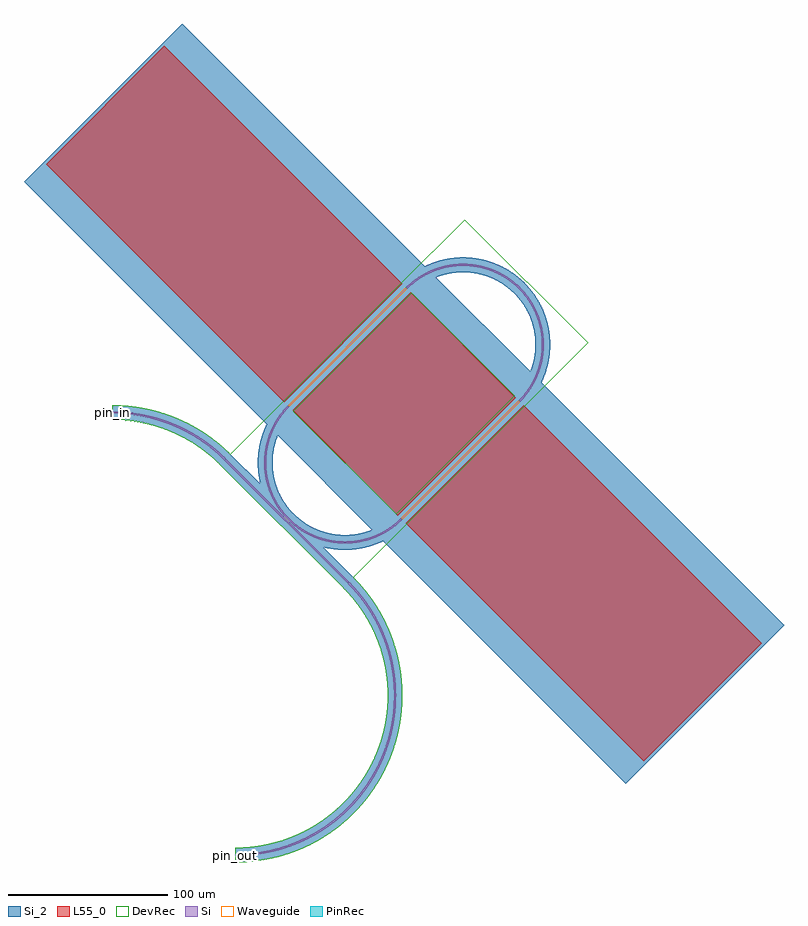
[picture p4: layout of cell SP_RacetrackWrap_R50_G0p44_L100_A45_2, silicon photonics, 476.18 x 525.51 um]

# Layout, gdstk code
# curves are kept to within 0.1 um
from math import pi, radians
import gdstk
lib = gdstk.Library(unit=1e-6, precision=1e-09)
def R(c, l, rs):  # rectangles x0, y0, x1, y1
    for r in rs: c.add(gdstk.rectangle(r[:2], r[2:], *l))
def P(c, l, *ps):  # polygons
    for p in ps: c.add(gdstk.Polygon(p, *l))
Si = (1, 0)
Si_2 = (1, 2)
PinRec = (1, 10)
Waveguide = (1, 99)
L55_0 = (55, 0)
DevRec = (68, 0)

bto_shetch_dc_halfring_s = lib.new_cell('BTO_ShEtch_dc_halfring_straight$4')
R(bto_shetch_dc_halfring_s, Si, [(-54.6,-0.6,54.6,0.6)])
P(bto_shetch_dc_halfring_s, Si, [(0,1.04),(-4.988,1.286),(-9.927,2.023),(-14.335,3.113),(-19.049,4.762),(-23.577,6.868),(-27.875,9.411),(-31.902,12.364),(-35.619,15.7),(-38.988,19.386),(-41.977,23.387),(-44.558,27.662),(-46.705,32.171),(-48.396,36.87),(-49.617,41.713),(-50.354,46.652),(-50.6,51.64),(-49.4,51.64),(-49.114,46.329),(-48.351,41.514),(-46.982,36.375),(-45.069,31.412),(-42.855,27.068),(-40.48,23.326),(-37.492,19.473),(-34.458,16.242),(-30.8,13.018),(-26.843,10.169),(-23.018,7.93),(-18.597,5.874),(-14.42,4.391),(-9.692,3.2),(-4.87,2.481),(0,2.24),(4.87,2.481),(9.692,3.2),(14.42,4.391),(18.597,5.874),(23.018,7.93),(26.843,10.169),(30.8,13.018),(34.458,16.242),(37.492,19.473),(40.48,23.326),(42.855,27.068),(45.069,31.412),(46.982,36.375),(48.351,41.514),(49.114,46.329),(49.4,51.64),(50.6,51.64),(50.354,46.652),(49.617,41.713),(48.527,37.305),(46.878,32.591),(44.772,28.063),(42.229,23.765),(39.276,19.738),(35.94,16.021),(32.254,12.652),(28.253,9.663),(23.978,7.082),(19.469,4.935),(14.77,3.244),(9.927,2.023),(4.988,1.286)])
P(bto_shetch_dc_halfring_s, Si_2, [(-54.6,-4.6),(-54.6,4.6),(-27.719,4.6),(-30.892,6.62),(-33.658,8.648),(-36.291,10.846),(-38.781,13.206),(-41.118,15.717),(-43.589,18.759),(-45.568,21.561),(-47.366,24.482),(-48.978,27.509),(-50.397,30.632),(-51.774,34.302),(-52.761,37.587),(-53.539,40.928),(-54.106,44.311),(-54.492,48.212),(-54.6,51.64),(-45.4,51.64),(-45.137,46.759),(-44.351,41.935),(-42.919,36.838),(-41.079,32.31),(-38.763,28.005),(-35.998,23.975),(-32.532,19.972),(-28.939,16.659),(-25.687,14.205),(-22.228,12.054),(-18.59,10.22),(-15.187,8.855),(-11.685,7.769),(-7.705,6.899),(-3.664,6.388),(0,6.24),(3.664,6.388),(7.705,6.899),(11.685,7.769),(15.187,8.855),(18.59,10.22),(22.228,12.054),(25.687,14.205),(28.939,16.659),(32.532,19.972),(35.998,23.975),(38.763,28.005),(41.079,32.31),(42.919,36.838),(44.351,41.935),(45.137,46.759),(45.4,51.64),(54.6,51.64),(54.492,48.212),(54.106,44.311),(53.539,40.928),(52.761,37.587),(51.774,34.302),(50.397,30.632),(48.978,27.509),(47.366,24.482),(45.568,21.561),(43.589,18.759),(41.118,15.717),(38.781,13.206),(36.291,10.846),(33.658,8.648),(30.892,6.62),(27.719,4.6),(54.6,4.6),(54.6,-4.6)])
R(bto_shetch_dc_halfring_s, DevRec, [(-54.6,-4.6,54.6,51.64)])
bto_shetch_dc_halfring_s.add(gdstk.FlexPath([(-50,51.63),(-50,51.65)], 1.2, ends="flush", simple_path=True, layer=1, datatype=10))  # PinRec
bto_shetch_dc_halfring_s.add(gdstk.FlexPath([(50,51.63),(50,51.65)], 1.2, ends="flush", simple_path=True, layer=1, datatype=10))  # PinRec
bto_shetch_dc_halfring_s.add(gdstk.FlexPath([(-54.59,0),(-54.61,0)], 1.2, ends="flush", simple_path=True, layer=1, datatype=10))  # PinRec
bto_shetch_dc_halfring_s.add(gdstk.FlexPath([(54.59,0),(54.61,0)], 1.2, ends="flush", simple_path=True, layer=1, datatype=10))  # PinRec
bto_shetch_dc_halfring_s.add(gdstk.Label('pin2', (-50,51.64), layer=1, texttype=10))
bto_shetch_dc_halfring_s.add(gdstk.Label('pin4', (50,51.64), layer=1, texttype=10))
bto_shetch_dc_halfring_s.add(gdstk.Label('pin1', (-54.6,0), layer=1, texttype=10))
bto_shetch_dc_halfring_s.add(gdstk.Label('pin3', (54.6,0), layer=1, texttype=10))

c_bto_shetch_dc_halfring_s = lib.new_cell('BTO_ShEtch_dc_halfring_straight$5')
P(c_bto_shetch_dc_halfring_s, Si, [(0,1.04),(-4.988,1.286),(-9.927,2.023),(-14.335,3.113),(-19.049,4.762),(-23.577,6.868),(-27.875,9.411),(-31.902,12.364),(-35.619,15.7),(-38.988,19.386),(-41.977,23.387),(-44.558,27.662),(-46.705,32.171),(-48.396,36.87),(-49.617,41.713),(-50.354,46.652),(-50.6,51.64),(-49.4,51.64),(-49.114,46.329),(-48.351,41.514),(-46.982,36.375),(-45.069,31.412),(-42.855,27.068),(-40.48,23.326),(-37.492,19.473),(-34.458,16.242),(-30.8,13.018),(-26.843,10.169),(-23.018,7.93),(-18.597,5.874),(-14.42,4.391),(-9.692,3.2),(-4.87,2.481),(0,2.24),(4.87,2.481),(9.692,3.2),(14.42,4.391),(18.597,5.874),(23.018,7.93),(26.843,10.169),(30.8,13.018),(34.458,16.242),(37.492,19.473),(40.48,23.326),(42.855,27.068),(45.069,31.412),(46.982,36.375),(48.351,41.514),(49.114,46.329),(49.4,51.64),(50.6,51.64),(50.354,46.652),(49.617,41.713),(48.527,37.305),(46.878,32.591),(44.772,28.063),(42.229,23.765),(39.276,19.738),(35.94,16.021),(32.254,12.652),(28.253,9.663),(23.978,7.082),(19.469,4.935),(14.77,3.244),(9.927,2.023),(4.988,1.286)])
P(c_bto_shetch_dc_halfring_s, Si_2, [(0,-2.96),(-5.382,-2.694),(-10.712,-1.899),(-15.937,-0.582),(-21.008,1.243),(-25.441,3.329),(-30.079,6.072),(-34.424,9.259),(-38.434,12.859),(-42.07,16.837),(-45.296,21.153),(-48.081,25.767),(-50.397,30.632),(-52.222,35.703),(-53.539,40.928),(-54.334,46.258),(-54.6,51.64),(-45.4,51.64),(-45.137,46.759),(-44.351,41.935),(-42.919,36.838),(-41.079,32.31),(-38.763,28.005),(-35.998,23.975),(-32.532,19.972),(-28.939,16.659),(-25.687,14.205),(-22.228,12.054),(-18.59,10.22),(-15.187,8.855),(-11.685,7.769),(-7.705,6.899),(-3.664,6.388),(0,6.24),(3.664,6.388),(7.705,6.899),(11.685,7.769),(15.187,8.855),(18.59,10.22),(22.228,12.054),(25.687,14.205),(28.939,16.659),(32.532,19.972),(35.998,23.975),(38.763,28.005),(41.079,32.31),(42.919,36.838),(44.351,41.935),(45.137,46.759),(45.4,51.64),(54.6,51.64),(54.334,46.258),(53.539,40.928),(52.222,35.703),(50.397,30.632),(48.311,26.199),(45.568,21.561),(42.381,17.216),(38.781,13.206),(34.803,9.57),(30.487,6.344),(25.873,3.559),(21.008,1.243),(15.937,-0.582),(10.712,-1.899),(5.382,-2.694)])
R(c_bto_shetch_dc_halfring_s, DevRec, [(-54.6,-4.6,54.6,51.64)])
c_bto_shetch_dc_halfring_s.add(gdstk.FlexPath([(-50,51.63),(-50,51.65)], 1.2, ends="flush", simple_path=True, layer=1, datatype=10))  # PinRec
c_bto_shetch_dc_halfring_s.add(gdstk.FlexPath([(50,51.63),(50,51.65)], 1.2, ends="flush", simple_path=True, layer=1, datatype=10))  # PinRec
c_bto_shetch_dc_halfring_s.add(gdstk.Label('pin2', (-50,51.64), layer=1, texttype=10))
c_bto_shetch_dc_halfring_s.add(gdstk.Label('pin4', (50,51.64), layer=1, texttype=10))

waveguide_20 = lib.new_cell('Waveguide$20')
R(waveguide_20, Si, [(-50.6,51.64,-49.4,156.26)])
R(waveguide_20, Si_2, [(-54.6,51.64,-45.4,156.26)])
R(waveguide_20, Waveguide, [(-50.6,51.64,-49.4,156.26)])
R(waveguide_20, DevRec, [(-54.6,51.64,-45.4,156.26)])
waveguide_20.add(gdstk.FlexPath([(-50,51.65),(-50,51.63)], 1.2, ends="flush", simple_path=True, layer=1, datatype=10))  # PinRec
waveguide_20.add(gdstk.FlexPath([(-50,156.25),(-50,156.27)], 1.2, ends="flush", simple_path=True, layer=1, datatype=10))  # PinRec
waveguide_20.add(gdstk.Label('Lumerical_INTERCONNECT_library=Design kits/EBeam', (-50.24,51.64), layer=68, texttype=0))
waveguide_20.add(gdstk.Label('Component=ebeam_wg_integral_895', (-49.76,51.64), layer=68, texttype=0))
waveguide_20.add(gdstk.Label('cellName=Waveguide', (-49.52,51.64), layer=68, texttype=0))
waveguide_20.add(gdstk.Label('Spice_param:wg_length=0.000104620 wg_width=1.2e-06 points="[[-50.0,51.64],[-50.0,156.26]]" radius=0.0001', (-50,51.64), layer=68, texttype=0))
waveguide_20.add(gdstk.Label('Length=104.620 (microns)', (-51.44,51.64), layer=68, texttype=0))
waveguide_20.add(gdstk.Label('waveguide_type=Low-loss Bend Waveguide, w=1.2um r=100um', (-50.48,51.64), layer=68, texttype=0))
waveguide_20.add(gdstk.Label('opt1', (-50,51.64), layer=1, texttype=10))
waveguide_20.add(gdstk.Label('opt2', (-50,156.26), layer=1, texttype=10))

waveguide_21 = lib.new_cell('Waveguide$21')
R(waveguide_21, Si, [(49.4,51.64,50.6,156.26)])
R(waveguide_21, Si_2, [(45.4,51.64,54.6,156.26)])
R(waveguide_21, Waveguide, [(49.4,51.64,50.6,156.26)])
R(waveguide_21, DevRec, [(45.4,51.64,54.6,156.26)])
waveguide_21.add(gdstk.FlexPath([(50,51.65),(50,51.63)], 1.2, ends="flush", simple_path=True, layer=1, datatype=10))  # PinRec
waveguide_21.add(gdstk.FlexPath([(50,156.25),(50,156.27)], 1.2, ends="flush", simple_path=True, layer=1, datatype=10))  # PinRec
waveguide_21.add(gdstk.Label('Lumerical_INTERCONNECT_library=Design kits/EBeam', (49.76,51.64), layer=68, texttype=0))
waveguide_21.add(gdstk.Label('Component=ebeam_wg_integral_895', (50.24,51.64), layer=68, texttype=0))
waveguide_21.add(gdstk.Label('cellName=Waveguide', (50.48,51.64), layer=68, texttype=0))
waveguide_21.add(gdstk.Label('Spice_param:wg_length=0.000104620 wg_width=1.2e-06 points="[[50.0,51.64],[50.0,156.26]]" radius=0.0001', (50,51.64), layer=68, texttype=0))
waveguide_21.add(gdstk.Label('Length=104.620 (microns)', (48.56,51.64), layer=68, texttype=0))
waveguide_21.add(gdstk.Label('waveguide_type=Low-loss Bend Waveguide, w=1.2um r=100um', (49.52,51.64), layer=68, texttype=0))
waveguide_21.add(gdstk.Label('opt1', (50,51.64), layer=1, texttype=10))
waveguide_21.add(gdstk.Label('opt2', (50,156.26), layer=1, texttype=10))

bto_shetch_varbend_4 = lib.new_cell('BTO_ShEtch_VarBend$4')
P(bto_shetch_varbend_4, Si, [(-70.286,70.286),(-71.135,71.135),(-70.824,71.445),(-65.134,76.668),(-58.918,81.542),(-54.422,84.609),(-49.614,87.515),(-44.809,90.07),(-39.792,92.396),(-34.902,94.352),(-30.084,95.997),(-25.358,97.352),(-20.314,98.528),(-15.13,99.456),(-9.992,100.103),(-5.002,100.476),(0,100.6),(0,99.4),(-6.068,99.215),(-11.769,98.701),(-17.431,97.86),(-23.036,96.694),(-31.293,94.346),(-39.477,91.225),(-43.808,89.226),(-47.81,87.147),(-51.862,84.798),(-55.799,82.261),(-59.682,79.489),(-63.427,76.534),(-66.962,73.461)])
P(bto_shetch_varbend_4, Si_2, [(-67.458,67.458),(-73.963,73.963),(-68.624,78.943),(-62.658,83.757),(-56.893,87.775),(-50.551,91.574),(-44.537,94.645),(-38.506,97.255),(-32.323,99.481),(-26.013,101.314),(-19.869,102.696),(-13.019,103.787),(-6.568,104.394),(0,104.6),(0,95.4),(-4.91,95.274),(-9.392,94.937),(-13.936,94.377),(-18.693,93.551),(-23.241,92.526),(-27.813,91.256),(-32.316,89.76),(-36.354,88.202),(-40.619,86.321),(-44.935,84.155),(-48.849,81.945),(-52.863,79.415),(-56.88,76.589),(-60.489,73.772),(-64.144,70.617)])
P(bto_shetch_varbend_4, DevRec, [(-67.458,67.458),(-73.963,73.963),(-68.624,78.943),(-62.658,83.757),(-56.893,87.775),(-50.551,91.574),(-44.537,94.645),(-38.506,97.255),(-32.323,99.481),(-26.013,101.314),(-19.869,102.696),(-13.019,103.787),(-6.568,104.394),(0,104.6),(0,95.4),(-4.91,95.274),(-9.392,94.937),(-13.936,94.377),(-18.693,93.551),(-23.241,92.526),(-27.813,91.256),(-32.316,89.76),(-36.354,88.202),(-40.619,86.321),(-44.935,84.155),(-48.849,81.945),(-52.863,79.415),(-56.88,76.589),(-60.489,73.772),(-64.144,70.617)])
bto_shetch_varbend_4.add(gdstk.FlexPath([(-0.01,100),(0.01,100)], 1.2, ends="flush", simple_path=True, layer=1, datatype=10))  # PinRec
bto_shetch_varbend_4.add(gdstk.FlexPath([(-70.704,70.718),(-70.718,70.704)], 1.2, ends="flush", simple_path=True, layer=1, datatype=10))  # PinRec
bto_shetch_varbend_4.add(gdstk.Label('pin1', (0,100), layer=1, texttype=10))
bto_shetch_varbend_4.add(gdstk.Label('pin2', (-70.711,70.711), layer=1, texttype=10))

bto_shetch_varbend_5 = lib.new_cell('BTO_ShEtch_VarBend$5')
P(bto_shetch_varbend_5, Si, [(-0.263,-100.6),(-5.44,-100.453),(-10.516,-100.049),(-15.564,-99.389),(-20.314,-98.528),(-25.358,-97.352),(-30.084,-95.997),(-34.902,-94.352),(-39.792,-92.396),(-44.809,-90.07),(-49.614,-87.515),(-54.422,-84.609),(-58.918,-81.542),(-65.134,-76.668),(-70.824,-71.445),(-71.135,-71.135),(-70.286,-70.286),(-64.819,-75.359),(-59.195,-79.852),(-53.188,-83.973),(-46.972,-87.602),(-40.35,-90.842),(-33.344,-93.641),(-26.313,-95.854),(-19.222,-97.524),(-12.028,-98.67),(-4.769,-99.286),(2.689,-99.364),(9.872,-98.909),(17.261,-97.89),(24.468,-96.342),(31.293,-94.346),(37.959,-91.867),(44.43,-88.918),(50.897,-85.381),(57.085,-81.374),(62.622,-77.194),(67.981,-72.519),(73.227,-67.218),(78.061,-61.538),(82.163,-55.943),(85.822,-50.15),(89.034,-44.197),(91.867,-37.959),(94.346,-31.293),(96.572,-23.542),(98.163,-15.635),(99.094,-7.799),(99.4,0),(100.6,0),(100.476,-5.002),(100.103,-9.992),(99.495,-14.87),(98.633,-19.798),(97.505,-24.763),(96.179,-29.497),(94.653,-34.077),(92.909,-38.579),(90.876,-43.151),(88.701,-47.461),(86.276,-51.738),(83.695,-55.817),(80.816,-59.91),(77.793,-63.786),(74.702,-67.38),(71.011,-71.259),(67.38,-74.702),(63.786,-77.793),(59.91,-80.816),(55.817,-83.695),(51.738,-86.276),(47.229,-88.825),(42.833,-91.026),(38.417,-92.976),(33.581,-94.83),(28.993,-96.332),(24.337,-97.612),(19.282,-98.735),(14.609,-99.534),(9.467,-100.154),(5.002,-100.476)])
P(bto_shetch_varbend_5, Si_2, [(-0.274,-104.6),(-6.568,-104.394),(-13.381,-103.741),(-19.869,-102.696),(-26.013,-101.314),(-32.323,-99.481),(-38.506,-97.255),(-44.537,-94.645),(-50.551,-91.574),(-56.893,-87.775),(-62.658,-83.757),(-68.624,-78.943),(-73.963,-73.963),(-67.458,-67.458),(-62.651,-71.945),(-57.08,-76.44),(-51.329,-80.415),(-45.448,-83.879),(-39.334,-86.914),(-33.098,-89.475),(-26.696,-91.589),(-19.753,-93.333),(-12.865,-94.529),(-5.99,-95.212),(0.916,-95.396),(7.651,-95.093),(14.513,-94.29),(21.379,-92.974),(28.211,-91.134),(34.577,-88.914),(40.393,-86.427),(46.251,-83.439),(51.819,-80.1),(56.88,-76.589),(61.831,-72.651),(66.51,-68.393),(70.952,-63.773),(74.868,-59.127),(79.461,-52.794),(83.56,-46.032),(87.22,-38.651),(90.094,-31.374),(92.424,-23.644),(94.092,-15.746),(95.093,-7.651),(95.4,0),(104.6,0),(104.48,-5.019),(104.11,-10.116),(103.465,-15.371),(102.626,-20.227),(101.471,-25.394),(100.136,-30.233),(98.509,-35.174),(96.638,-40.029),(94.489,-44.867),(92.098,-49.59),(89.707,-53.795),(86.972,-58.113),(84.138,-62.145),(80.944,-66.252),(77.611,-70.127),(73.899,-74.028),(70.127,-77.611),(66.252,-80.944),(62.072,-84.192),(57.885,-87.124),(53.403,-89.941),(48.865,-92.485),(44.454,-94.684),(39.86,-96.708),(35.174,-98.509),(30.233,-100.136),(25.394,-101.471),(20.227,-102.626),(15.371,-103.465),(10.116,-104.11),(5.019,-104.48)])
P(bto_shetch_varbend_5, DevRec, [(-0.274,-104.6),(-6.568,-104.394),(-13.381,-103.741),(-19.869,-102.696),(-26.013,-101.314),(-32.323,-99.481),(-38.506,-97.255),(-44.537,-94.645),(-50.551,-91.574),(-56.893,-87.775),(-62.658,-83.757),(-68.624,-78.943),(-73.963,-73.963),(-67.458,-67.458),(-62.651,-71.945),(-57.08,-76.44),(-51.329,-80.415),(-45.448,-83.879),(-39.334,-86.914),(-33.098,-89.475),(-26.696,-91.589),(-19.753,-93.333),(-12.865,-94.529),(-5.99,-95.212),(0.916,-95.396),(7.651,-95.093),(14.513,-94.29),(21.379,-92.974),(28.211,-91.134),(34.577,-88.914),(40.393,-86.427),(46.251,-83.439),(51.819,-80.1),(56.88,-76.589),(61.831,-72.651),(66.51,-68.393),(70.952,-63.773),(74.868,-59.127),(79.461,-52.794),(83.56,-46.032),(87.22,-38.651),(90.094,-31.374),(92.424,-23.644),(94.092,-15.746),(95.093,-7.651),(95.4,0),(104.6,0),(104.48,-5.019),(104.11,-10.116),(103.465,-15.371),(102.626,-20.227),(101.471,-25.394),(100.136,-30.233),(98.509,-35.174),(96.638,-40.029),(94.489,-44.867),(92.098,-49.59),(89.707,-53.795),(86.972,-58.113),(84.138,-62.145),(80.944,-66.252),(77.611,-70.127),(73.899,-74.028),(70.127,-77.611),(66.252,-80.944),(62.072,-84.192),(57.885,-87.124),(53.403,-89.941),(48.865,-92.485),(44.454,-94.684),(39.86,-96.708),(35.174,-98.509),(30.233,-100.136),(25.394,-101.471),(20.227,-102.626),(15.371,-103.465),(10.116,-104.11),(5.019,-104.48)])
bto_shetch_varbend_5.add(gdstk.FlexPath([(100,-0.01),(100,0.01)], 1.2, ends="flush", simple_path=True, layer=1, datatype=10))  # PinRec
bto_shetch_varbend_5.add(gdstk.FlexPath([(-70.704,-70.718),(-70.718,-70.704)], 1.2, ends="flush", simple_path=True, layer=1, datatype=10))  # PinRec
bto_shetch_varbend_5.add(gdstk.Label('pin1', (100,0), layer=1, texttype=10))
bto_shetch_varbend_5.add(gdstk.Label('pin2', (-70.711,-70.711), layer=1, texttype=10))

sp_racetrackcore_r50_g0p = lib.new_cell('SP_RacetrackCore_R50_G0p44_L100_A45')
R(sp_racetrackcore_r50_g0p, Si_2, [(-266.61,33.849,266.61,174.05)])
R(sp_racetrackcore_r50_g0p, L55_0, [(-264.61,51.649,-53.71,156.25), (-46.31,51.649,46.91,156.25), (53.71,51.649,264.61,156.25)])
sp_racetrackcore_r50_g0p.add(gdstk.Reference(bto_shetch_dc_halfring_s, (0,0)))
sp_racetrackcore_r50_g0p.add(gdstk.Reference(c_bto_shetch_dc_halfring_s, (0,207.9), rotation=pi))
sp_racetrackcore_r50_g0p.add(gdstk.Reference(waveguide_20, (0,0)))
sp_racetrackcore_r50_g0p.add(gdstk.Reference(waveguide_21, (0,0)))
sp_racetrackcore_r50_g0p.add(gdstk.Reference(bto_shetch_varbend_4, (-54.6,-100)))
sp_racetrackcore_r50_g0p.add(gdstk.Reference(bto_shetch_varbend_5, (54.6,-100), rotation=pi/2))

sp_racetrackwrap_r50_g0p = lib.new_cell('SP_RacetrackWrap_R50_G0p44_L100_A45_2')
sp_racetrackwrap_r50_g0p.add(gdstk.FlexPath([(-109.309,67.898),(-109.329,67.898)], 0, ends="flush", simple_path=True, layer=1, datatype=10))  # PinRec
sp_racetrackwrap_r50_g0p.add(gdstk.FlexPath([(-32.093,-209.319),(-32.113,-209.319)], 0, ends="flush", simple_path=True, layer=1, datatype=10))  # PinRec
sp_racetrackwrap_r50_g0p.add(gdstk.Reference(sp_racetrackcore_r50_g0p, (0,0), rotation=radians(315)))
sp_racetrackwrap_r50_g0p.add(gdstk.Label('pin_in', (-109.319,67.898), layer=1, texttype=10))
sp_racetrackwrap_r50_g0p.add(gdstk.Label('pin_out', (-32.103,-209.319), layer=1, texttype=10))

lib.write_gds('SP_RacetrackWrap_R50_G0p44_L100_A45_2.gds')
